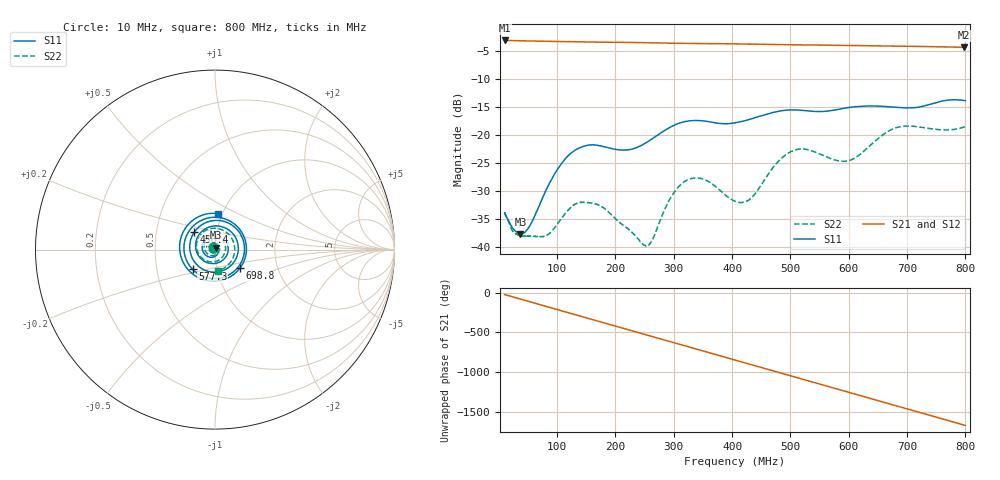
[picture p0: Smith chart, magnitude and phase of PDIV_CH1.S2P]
!Keysight Technologies,E5061B,SG49100003,B.05.06
!Date: Tue Jan 07 17:32:13 2020
!Data & Calibration Information:
!Freq	S11:SOLT2(ON)	S21:SOLT2(ON)	S12:SOLT2(ON)	S22:SOLT2(ON)
# Hz S RI R 50
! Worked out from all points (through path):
!   1601 points, 10 MHz to 800 MHz, reference 50 ohm
!   highest |S21| = -3.17 dB at 10 MHz (marker M1); lowest = -4.4 dB at 797.5 MHz (marker M2)
!   group delay of S21, straight-line fit = 5.81 ns
!   lowest |S11| = -37.8 dB at 37.16 MHz (marker M3), VSWR 1.03, Z = 50.7 + j1.08 ohm
!   |S11| at or under -10 dB: start of sweep to end of sweep
!   |S22| runs from -39.9 to -18.5 dB; largest |S21 - S12| = 0.0012
!   S11 on the Smith chart (normalised r, x): 10 MHz: 0.98, +0.03; 456.4 MHz: 0.78, +0.15; 577.3 MHz: 0.76, -0.17; 698.8 MHz: 1.29, -0.28; 800 MHz: 0.95, +0.40
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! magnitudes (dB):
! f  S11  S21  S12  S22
! 10 MHz  -34.0  -3.2  -3.2  -33.8
! 37.16 MHz  -37.8  -3.2  -3.2  -38.1
! 52.96 MHz  -36.3  -3.3  -3.3  -38.1
! 82.58 MHz  -29.6  -3.3  -3.3  -38.0
! 113.2 MHz  -24.4  -3.4  -3.4  -34.2
! 141.8 MHz  -22.2  -3.4  -3.4  -32.1
! 179.8 MHz  -22.1  -3.5  -3.5  -33.1
! 251.4 MHz  -21.5  -3.6  -3.6  -39.8
! 273.7 MHz  -20.0  -3.6  -3.6  -36.1
! 299.8 MHz  -18.4  -3.7  -3.7  -30.4
! 328 MHz  -17.5  -3.7  -3.7  -27.9
! 405 MHz  -17.9  -3.8  -3.8  -31.9
! 429.2 MHz  -17.3  -3.8  -3.8  -31.7
! 456.4 MHz  -16.4  -3.9  -3.9  -28.0
! 496.8 MHz  -15.6  -3.9  -4.0  -23.3
! 536.8 MHz  -15.8  -4.0  -4.0  -22.9
! 577.3 MHz  -15.6  -4.0  -4.0  -24.6
! 609.4 MHz  -15.0  -4.1  -4.1  -24.2
! 668.7 MHz  -15.0  -4.2  -4.2  -19.4
! 698.8 MHz  -15.2  -4.2  -4.2  -18.5
! 797.5 MHz  -13.9  -4.4  -4.4  -18.7
! 800 MHz  -13.9  -4.4  -4.4  -18.6
